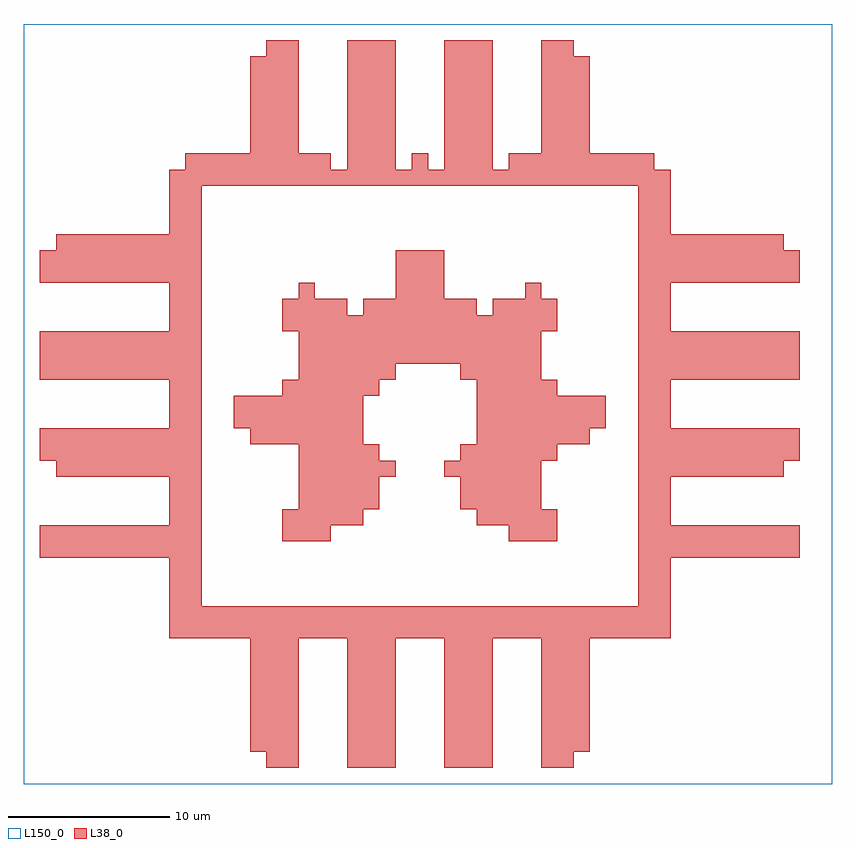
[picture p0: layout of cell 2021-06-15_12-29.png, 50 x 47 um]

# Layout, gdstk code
import gdstk
lib = gdstk.Library(unit=1e-6, precision=1e-09)
def R(c, l, rs):  # rectangles x0, y0, x1, y1
    for r in rs: c.add(gdstk.rectangle(r[:2], r[2:], *l))
def A(c, l, x, y, w, h, nx, ny, dx, dy):  # array of equal rectangles
    R(c, l, [(x+i*dx, y+j*dy, x+i*dx+w, y+j*dy+h) for i in range(nx) for j in range(ny)])
L38_0 = (38, 0)
L150_0 = (150, 0)

c_2021_06_15_12_29_png = lib.new_cell('2021-06-15_12-29.png')
A(c_2021_06_15_12_29_png, L38_0, -11, -21.5, 3, 1, 4, 7, 6, 1)
A(c_2021_06_15_12_29_png, L38_0, -16, -12.5, 2, 1, 1, 3, 0, 1)
A(c_2021_06_15_12_29_png, L38_0, 13, -12.5, 2, 1, 1, 3, 0, 1)
A(c_2021_06_15_12_29_png, L38_0, -16, -7.5, 2, 1, 1, 3, 0, 1)
A(c_2021_06_15_12_29_png, L38_0, 13, -7.5, 2, 1, 1, 3, 0, 1)
A(c_2021_06_15_12_29_png, L38_0, -16, -1.5, 2, 1, 1, 3, 0, 1)
A(c_2021_06_15_12_29_png, L38_0, 13, -1.5, 2, 1, 1, 3, 0, 1)
A(c_2021_06_15_12_29_png, L38_0, -24, 1.5, 10, 1, 1, 3, 0, 1)
A(c_2021_06_15_12_29_png, L38_0, 13, 1.5, 10, 1, 1, 3, 0, 1)
A(c_2021_06_15_12_29_png, L38_0, -16, 4.5, 2, 1, 1, 3, 0, 1)
A(c_2021_06_15_12_29_png, L38_0, 13, 4.5, 2, 1, 1, 3, 0, 1)
A(c_2021_06_15_12_29_png, L38_0, -2, 6.5, 3, 1, 1, 3, 0, 1)
A(c_2021_06_15_12_29_png, L38_0, -16, 10.5, 2, 1, 1, 3, 0, 1)
A(c_2021_06_15_12_29_png, L38_0, 13, 10.5, 2, 1, 1, 3, 0, 1)
A(c_2021_06_15_12_29_png, L38_0, -11, 15.5, 3, 1, 4, 6, 6, 1)
R(c_2021_06_15_12_29_png, L38_0, [(-10,-22.5,-8,-21.5), (-5,-22.5,-2,-21.5), (1,-22.5,4,-21.5), (7,-22.5,9,-21.5), (-16,-14.5,15,-13.5), (-16,-13.5,15,-12.5), (-24,-9.5,-14,-8.5), (13,-9.5,23,-8.5), (-24,-8.5,-14,-7.5), (-9,-8.5,-6,-7.5), (5,-8.5,8,-7.5), (13,-8.5,23,-7.5), (-9,-7.5,-4,-6.5), (3,-7.5,8,-6.5), (-8,-6.5,-3,-5.5), (2,-6.5,7,-5.5), (-8,-5.5,-3,-4.5), (2,-5.5,7,-4.5), (-23,-4.5,-14,-3.5), (-8,-4.5,-2,-3.5), (1,-4.5,7,-3.5), (13,-4.5,22,-3.5), (-24,-3.5,-14,-2.5), (-8,-3.5,-3,-2.5), (2,-3.5,8,-2.5), (13,-3.5,23,-2.5), (-24,-2.5,-14,-1.5), (-11,-2.5,-4,-1.5), (3,-2.5,10,-1.5), (13,-2.5,23,-1.5), (-12,-1.5,-4,-0.5), (3,-1.5,11,-0.5), (-12,-0.5,-4,0.5), (3,-0.5,11,0.5), (-9,0.5,-3,1.5), (3,0.5,8,1.5), (-8,1.5,-2,2.5), (2,1.5,7,2.5), (-8,2.5,7,3.5), (-8,3.5,7,4.5), (-9,4.5,8,5.5), (-9,5.5,-5,6.5), (-4,5.5,3,6.5), (4,5.5,8,6.5), (-8,6.5,-7,7.5), (6,6.5,7,7.5), (-24,7.5,-14,8.5), (13,7.5,23,8.5), (-24,8.5,-14,9.5), (13,8.5,23,9.5), (-23,9.5,-14,10.5), (13,9.5,22,10.5), (-16,13.5,15,14.5), (-15,14.5,-6,15.5), (-5,14.5,-2,15.5), (-1,14.5,0,15.5), (1,14.5,4,15.5), (5,14.5,14,15.5), (-10,21.5,-8,22.5), (-5,21.5,-2,22.5), (1,21.5,4,22.5), (7,21.5,9,22.5)])
R(c_2021_06_15_12_29_png, L150_0, [(-25,-23.5,25,23.5)])

lib.write_gds('2021-06-15_12-29.png.gds')
